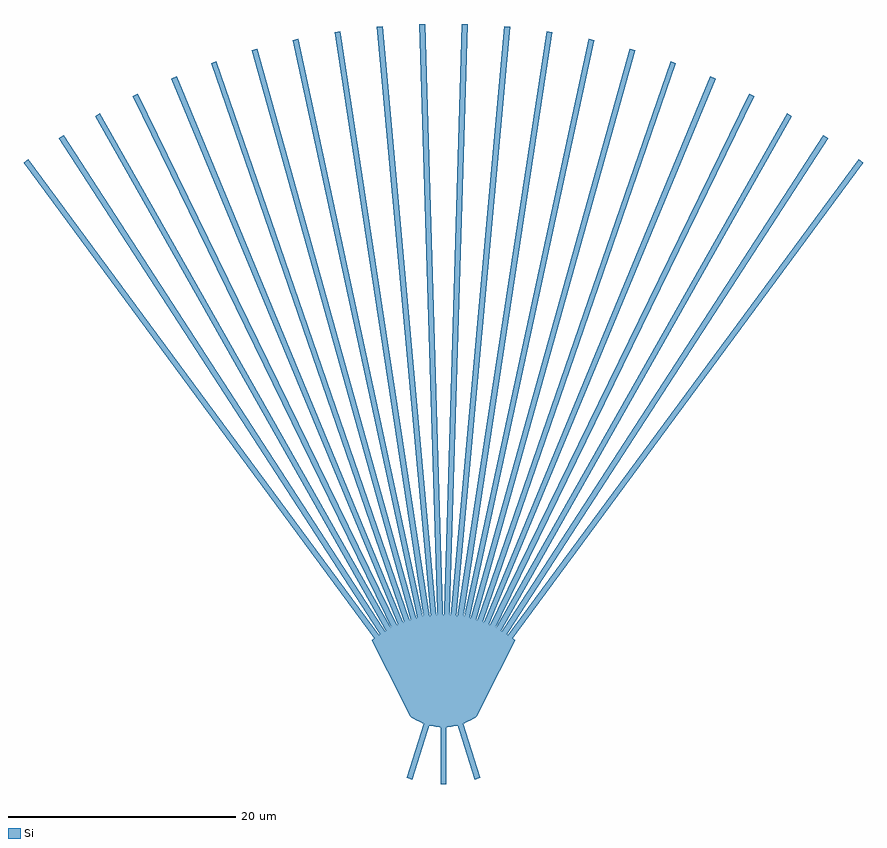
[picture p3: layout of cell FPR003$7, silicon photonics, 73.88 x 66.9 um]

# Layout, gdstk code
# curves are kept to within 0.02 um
from math import pi, radians
import gdstk
lib = gdstk.Library(unit=1e-6, precision=1e-09)
def R(c, l, rs):  # rectangles x0, y0, x1, y1
    for r in rs: c.add(gdstk.rectangle(r[:2], r[2:], *l))
def P(c, l, *ps):  # polygons
    for p in ps: c.add(gdstk.Polygon(p, *l))
Si = (1, 0)

taper006_7 = lib.new_cell('taper006$7')
R(taper006_7, Si, [(-52,-0.25,2.5,0.25)])

boolean004_7 = lib.new_cell('boolean004$7')
P(boolean004_7, Si, [(2.695,-6.307),(-3.967,-2.977),(-4.379,-2.329),(-4.717,-1.533),(-4.885,-0.861),(-4.96,0),(-4.885,0.861),(-4.717,1.533),(-4.379,2.329),(-3.967,2.977),(2.695,6.307),(3.264,5.547),(3.631,4.96),(3.956,4.349),(4.362,3.393),(4.576,2.734),(4.809,1.723),(4.906,1.037),(4.96,0),(4.906,-1.037),(4.809,-1.723),(4.576,-2.734),(4.362,-3.393),(3.956,-4.349),(3.631,-4.96),(3.264,-5.547)])

taper005_7 = lib.new_cell('taper005$7')
R(taper005_7, Si, [(-5,-0.25,2.5,0.25)])

fpr003_7 = lib.new_cell('FPR003$7')
fpr003_7.add(gdstk.Reference(taper006_7, (49.519,3.677), rotation=radians(240.539)))
fpr003_7.add(gdstk.Reference(taper006_7, (48.988,3.956), rotation=radians(244.005)))
fpr003_7.add(gdstk.Reference(taper006_7, (48.441,4.203), rotation=radians(247.471)))
fpr003_7.add(gdstk.Reference(taper006_7, (47.307,4.595), rotation=radians(254.403)))
fpr003_7.add(gdstk.Reference(taper006_7, (46.725,4.738), rotation=radians(257.869)))
fpr003_7.add(gdstk.Reference(taper006_7, (46.135,4.847), rotation=radians(261.335)))
fpr003_7.add(gdstk.Reference(taper006_7, (45.539,4.919), rotation=radians(264.801)))
fpr003_7.add(gdstk.Reference(taper006_7, (44.94,4.955), rotation=radians(268.267)))
fpr003_7.add(gdstk.Reference(taper006_7, (44.34,4.955), rotation=radians(271.733)))
fpr003_7.add(gdstk.Reference(taper006_7, (43.741,4.919), rotation=radians(275.199)))
fpr003_7.add(gdstk.Reference(boolean004_7, (44.64,0), rotation=pi/2, x_reflection=True))
fpr003_7.add(gdstk.Reference(taper005_7, (43.157,-4.733), rotation=radians(72.6059), x_reflection=True))
fpr003_7.add(gdstk.Reference(taper006_7, (50.526,3.025), rotation=radians(233.607)))
fpr003_7.add(gdstk.Reference(taper006_7, (50.032,3.366), rotation=radians(237.073)))
fpr003_7.add(gdstk.Reference(taper006_7, (47.88,4.416), rotation=radians(250.937)))
fpr003_7.add(gdstk.Reference(taper006_7, (41.4,4.416), rotation=radians(289.063)))
fpr003_7.add(gdstk.Reference(taper005_7, (44.64,-4.96), rotation=pi/2, x_reflection=True))
fpr003_7.add(gdstk.Reference(taper006_7, (40.292,3.956), rotation=radians(295.995)))
fpr003_7.add(gdstk.Reference(taper006_7, (42.555,4.738), rotation=radians(282.131)))
fpr003_7.add(gdstk.Reference(taper006_7, (43.145,4.847), rotation=radians(278.665)))
fpr003_7.add(gdstk.Reference(taper005_7, (46.123,-4.733), rotation=radians(107.3941), x_reflection=True))
fpr003_7.add(gdstk.Reference(taper006_7, (38.754,3.025), rotation=radians(306.393)))
fpr003_7.add(gdstk.Reference(taper006_7, (39.248,3.366), rotation=radians(302.927)))
fpr003_7.add(gdstk.Reference(taper006_7, (40.839,4.203), rotation=radians(292.529)))
fpr003_7.add(gdstk.Reference(taper006_7, (39.761,3.677), rotation=radians(299.461)))
fpr003_7.add(gdstk.Reference(taper006_7, (41.973,4.595), rotation=radians(285.597)))

lib.write_gds('FPR003_7.gds')
